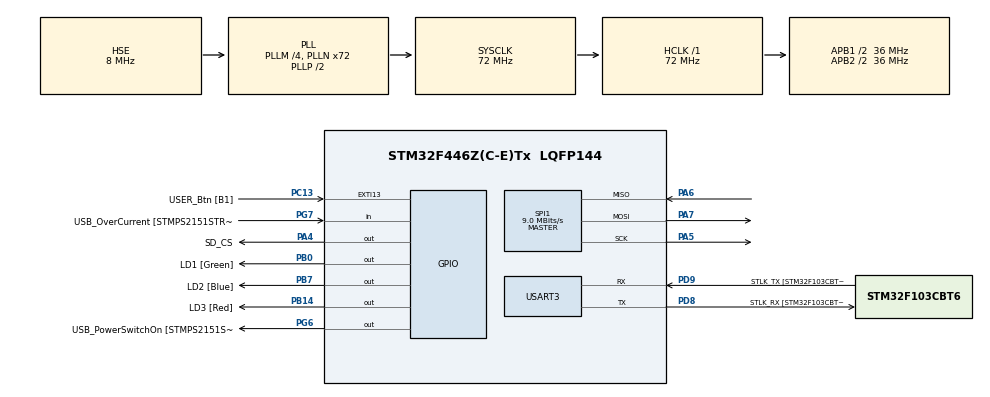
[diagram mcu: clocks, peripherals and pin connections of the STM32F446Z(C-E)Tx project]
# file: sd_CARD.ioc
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FATFS._MAX_SS=4096
FATFS._USE_FASTSEEK=0
FATFS._USE_LFN=1
Mcu.Family=STM32F4
Mcu.Name=STM32F446Z(C-E)Tx
Mcu.Package=LQFP144
NVIC.PriorityGroup=NVIC_PRIORITYGROUP_4
PA13.GPIO_Label=TMS
PA13.Mode=Serial_Wire
PA13.Signal=SYS_JTMS-SWDIO
PA14.GPIO_Label=TCK
PA14.Mode=Serial_Wire
PA14.Signal=SYS_JTCK-SWCLK
PA4.GPIO_Label=SD_CS
PA4.Signal=GPIO_Output
PA5.Mode=Full_Duplex_Master
PA5.Signal=SPI1_SCK
PA6.Mode=Full_Duplex_Master
PA6.Signal=SPI1_MISO
PA7.Mode=Full_Duplex_Master
PA7.Signal=SPI1_MOSI
PB0.GPIO_Label=LD1 [Green]
PB0.Signal=GPIO_Output
PB14.GPIO_Label=LD3 [Red]
PB14.Signal=GPIO_Output
PB7.GPIO_Label=LD2 [Blue]
PB7.Signal=GPIO_Output
PC13.GPIO_Label=USER_Btn [B1]
PC13.Signal=GPXTI13
PC14-OSC32_IN.Signal=RCC_OSC32_IN
PC15-OSC32_OUT.Signal=RCC_OSC32_OUT
PD8.GPIO_Label=STLK_RX [STM32F103CBT6_PA3]
PD8.Mode=Asynchronous
PD8.Signal=USART3_TX
PD9.GPIO_Label=STLK_TX [STM32F103CBT6_PA2]
PD9.Mode=Asynchronous
PD9.Signal=USART3_RX
PG6.GPIO_Label=USB_PowerSwitchOn [STMPS2151STR_EN]
PG6.Signal=GPIO_Output
PG7.GPIO_Label=USB_OverCurrent [STMPS2151STR_FAULT]
PG7.Signal=GPIO_Input
PH0-OSC_IN.GPIO_Label=MCO [STM32F103CBT6_PA8]
PH0-OSC_IN.Mode=HSE-External-Oscillator
PH0-OSC_IN.Signal=RCC_OSC_IN
PH1-OSC_OUT.Mode=HSE-External-Oscillator
PH1-OSC_OUT.Signal=RCC_OSC_OUT
ProjectManager.HeapSize=0x200
ProjectManager.StackSize=0x400
ProjectManager.TargetToolchain=STM32CubeIDE
RCC.48MHZClocksFreq_Value=24000000
RCC.AHBFreq_Value=72000000
RCC.APB1CLKDivider=RCC_HCLK_DIV2
RCC.APB1Freq_Value=36000000
RCC.APB1TimFreq_Value=72000000
RCC.APB2CLKDivider=RCC_HCLK_DIV2
RCC.APB2Freq_Value=36000000
RCC.APB2TimFreq_Value=72000000
RCC.CortexFreq_Value=72000000
RCC.HCLKFreq_Value=72000000
RCC.HSE_VALUE=8000000
RCC.HSI_VALUE=16000000
RCC.PLLM=4
RCC.PLLMUL=RCC_PLL_MUL9
RCC.PLLN=72
RCC.PLLQ=7
RCC.PLLSourceVirtual=RCC_PLLSOURCE_HSE
RCC.PRESCALERUSB=RCC_USBCLKSOURCE_PLL_DIV1_5
RCC.SYSCLKFreq_VALUE=72000000
RCC.SYSCLKSource=RCC_SYSCLKSOURCE_PLLCLK
RCC.SYSCLKSourceVirtual=RCC_SYSCLKSOURCE_PLLCLK
RCC.USBFreq_Value=20571428.57142857
RCC.VCOOutputFreq_Value=144000000
SPI1.BaudRatePrescaler=SPI_BAUDRATEPRESCALER_4
SPI1.CalculateBaudRate=9.0 MBits/s
SPI1.Direction=SPI_DIRECTION_2LINES
SPI1.Mode=SPI_MODE_MASTER
SPI1.VirtualType=VM_MASTER
USART3.VirtualMode=VM_ASYNC
VP_FATFS_VS_Generic.Mode=User_defined
board=NUCLEO-F446ZE

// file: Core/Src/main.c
/* USER CODE BEGIN Header */
/**
 ******************************************************************************
 * @file           : main.c
 * @brief          : Main program body
 ******************************************************************************
 * @attention
 *
 * <h2><center>&copy; Copyright (c) 2020 STMicroelectronics.
 * All rights reserved.</center></h2>
 *
 * This software component is licensed by ST under BSD 3-Clause license,
 * the "License"; You may not use this file except in compliance with the
 * License. You may obtain a copy of the License at:
 *                        opensource.org/licenses/BSD-3-Clause
 *
 ******************************************************************************
 */
/* USER CODE END Header */

#include "main.h"
#include "fatfs.h"

/* USER CODE BEGIN Includes */
#include "fatfs_sd.h"
#include "string.h"
#include "stdio.h"
/* USER CODE END Includes */

SPI_HandleTypeDef hspi1;

UART_HandleTypeDef huart3;

/* USER CODE BEGIN PV */

/****************************** SD CARD VARIABLES *****************************/
FATFS fs;  // file system
FIL fil;  // file
FRESULT fresult;  // to store the result
char buffer[1024]; // to store data
char To_Open[1024];
UINT br, bw;   // file read/write count

/* capacity related variables */
FATFS *pfs;
DWORD fre_clust;
uint32_t total, free_space;

/* USER CODE END PV */

void SystemClock_Config(void);
static void MX_GPIO_Init(void);
static void MX_USART3_UART_Init(void);
static void MX_SPI1_Init(void);

int main(void)
{

  /* MCU Configuration--------------------------------------------------------*/

  /* Reset of all peripherals, Initializes the Flash interface and the Systick. */
  HAL_Init();

  /* Configure the system clock */
  SystemClock_Config();

  /* Initialize all configured peripherals */
  MX_GPIO_Init();
  MX_USART3_UART_Init();
  MX_SPI1_Init();
  MX_FATFS_Init();
  /* USER CODE BEGIN 2 */

	/* Mount SD Card */
	fresult = f_mount(&fs, "", 0);
	if (fresult != FR_OK)
		send_uart("error in mounting SD CARD, check connection...\n");
	else
		send_uart("SD CARD mounted successfully...\n");

	/*************** Card capacity details ********************/
	/* Check free space */
	f_getfree("", &fre_clust, &pfs);
	total = (uint32_t) ((pfs->n_fatent - 2) * pfs->csize * 0.5);
	if (total < 32000000) {
		sprintf(buffer, "SD CARD Total Size: \t%lu\n", total);
		send_uart(buffer);
		bufclear();
		free_space = (uint32_t) (fre_clust * pfs->csize * 0.5);
		sprintf(buffer, "SD CARD Free Space: \t%lu\n", free_space);
		send_uart(buffer);
	} else {
		send_uart("ERROR: can't read SD CARD, check SD...\n");

	}

	/************* The following operation is using PUTS and GETS *********************/

	/* Open file to write/ create a file if it doesn't exist */
	strcpy(To_Open,"file1.txt");
	if( f_open(&fil, To_Open, FA_OPEN_ALWAYS | FA_READ | FA_WRITE) != FR_OK ) {
		char error [1024];
		strcpy(error,"ERROR: can't open ");
		strcat(error, To_Open);
		strcat(error, "\n\n");
		send_uart(error);
	}

	/* Read string from the file */
		while (f_gets(buffer, sizeof(buffer), &fil)) {
			/* SWV output */
			send_uart(buffer);
			fflush(stdout);
		}

	/* Writing text */
	fresult = f_lseek(&fil, fil.fptr);
	fresult = f_puts("Hello World!\n", &fil);

	/* Close file */
	f_close(&fil);

	bufclear();

	/**************** The following operation is using f_write and f_read **************************/

	/* Create second file with read write access and open it */
	fresult = f_open(&fil, "file2.txt", FA_OPEN_ALWAYS | FA_READ | FA_WRITE);

	/* Writing text */
	strcpy(buffer, "This is File 2 and it says Hello from controllerstech\n");
	fresult = f_write(&fil, buffer, bufsize(buffer), &bw);

	send_uart("File2.txt created and data is written\n");

	/* Close file */
	f_close(&fil);

	// clearing buffer to show that result obtained is from the file
	bufclear();

	/* Open second file to read */
	fresult = f_open(&fil, "file2.txt", FA_READ);

	/* Read data from the file
	 * Please see the function details for the arguments */
	while (f_gets(buffer, sizeof(buffer), &fil)) {
		/* SWV output */
		send_uart(buffer);
		fflush(stdout);
	}

	/* Close file */
	f_close(&fil);
	bufclear();

	/************************REMOVING FILES FROM THE DIRECTORY ****************************/
	fresult = f_unlink("/file1.txt");
	if (fresult == FR_OK) send_uart("file1.txt removed successfully...\n");

	/* Unmount SDCARD */
	fresult = f_mount(NULL, "", 1);
	if (fresult == FR_OK)
		send_uart("SD CARD UNMOUNTED successfully...\n");

  /* USER CODE END 2 */

  /* Infinite loop */
	while (1) {

	}
}

void SystemClock_Config(void)
{
  RCC_OscInitTypeDef RCC_OscInitStruct = {0};
  RCC_ClkInitTypeDef RCC_ClkInitStruct = {0};

  /** Configure the main internal regulator output voltage
  */
  __HAL_RCC_PWR_CLK_ENABLE();
  __HAL_PWR_VOLTAGESCALING_CONFIG(PWR_REGULATOR_VOLTAGE_SCALE3);
  /** Initializes the CPU, AHB and APB busses clocks
  */
  RCC_OscInitStruct.OscillatorType = RCC_OSCILLATORTYPE_HSE;
  RCC_OscInitStruct.HSEState = RCC_HSE_ON;
  RCC_OscInitStruct.PLL.PLLState = RCC_PLL_ON;
  RCC_OscInitStruct.PLL.PLLSource = RCC_PLLSOURCE_HSE;
  RCC_OscInitStruct.PLL.PLLM = 4;
  RCC_OscInitStruct.PLL.PLLN = 72;
  RCC_OscInitStruct.PLL.PLLP = RCC_PLLP_DIV2;
  RCC_OscInitStruct.PLL.PLLQ = 7;
  RCC_OscInitStruct.PLL.PLLR = 2;
  if (HAL_RCC_OscConfig(&RCC_OscInitStruct) != HAL_OK)
  {
    Error_Handler();
  }
  /** Initializes the CPU, AHB and APB busses clocks
  */
  RCC_ClkInitStruct.ClockType = RCC_CLOCKTYPE_HCLK|RCC_CLOCKTYPE_SYSCLK
                              |RCC_CLOCKTYPE_PCLK1|RCC_CLOCKTYPE_PCLK2;
  RCC_ClkInitStruct.SYSCLKSource = RCC_SYSCLKSOURCE_PLLCLK;
  RCC_ClkInitStruct.AHBCLKDivider = RCC_SYSCLK_DIV1;
  RCC_ClkInitStruct.APB1CLKDivider = RCC_HCLK_DIV2;
  RCC_ClkInitStruct.APB2CLKDivider = RCC_HCLK_DIV2;

  if (HAL_RCC_ClockConfig(&RCC_ClkInitStruct, FLASH_LATENCY_2) != HAL_OK)
  {
    Error_Handler();
  }
}

static void MX_SPI1_Init(void)
{

  /* SPI1 parameter configuration*/
  hspi1.Instance = SPI1;
  hspi1.Init.Mode = SPI_MODE_MASTER;
  hspi1.Init.Direction = SPI_DIRECTION_2LINES;
  hspi1.Init.DataSize = SPI_DATASIZE_8BIT;
  hspi1.Init.CLKPolarity = SPI_POLARITY_LOW;
  hspi1.Init.CLKPhase = SPI_PHASE_1EDGE;
  hspi1.Init.NSS = SPI_NSS_SOFT;
  hspi1.Init.BaudRatePrescaler = SPI_BAUDRATEPRESCALER_4;
  hspi1.Init.FirstBit = SPI_FIRSTBIT_MSB;
  hspi1.Init.TIMode = SPI_TIMODE_DISABLE;
  hspi1.Init.CRCCalculation = SPI_CRCCALCULATION_DISABLE;
  hspi1.Init.CRCPolynomial = 10;
  if (HAL_SPI_Init(&hspi1) != HAL_OK)
  {
    Error_Handler();
  }

}

static void MX_USART3_UART_Init(void)
{

  huart3.Instance = USART3;
  huart3.Init.BaudRate = 115200;
  huart3.Init.WordLength = UART_WORDLENGTH_8B;
  huart3.Init.StopBits = UART_STOPBITS_1;
  huart3.Init.Parity = UART_PARITY_NONE;
  huart3.Init.Mode = UART_MODE_TX_RX;
  huart3.Init.HwFlowCtl = UART_HWCONTROL_NONE;
  huart3.Init.OverSampling = UART_OVERSAMPLING_16;
  if (HAL_UART_Init(&huart3) != HAL_OK)
  {
    Error_Handler();
  }

}

static void MX_GPIO_Init(void)
{
  GPIO_InitTypeDef GPIO_InitStruct = {0};

  /* GPIO Ports Clock Enable */
  __HAL_RCC_GPIOC_CLK_ENABLE();
  __HAL_RCC_GPIOH_CLK_ENABLE();
  __HAL_RCC_GPIOA_CLK_ENABLE();
  __HAL_RCC_GPIOB_CLK_ENABLE();
  __HAL_RCC_GPIOD_CLK_ENABLE();
  __HAL_RCC_GPIOG_CLK_ENABLE();

  /*Configure GPIO pin Output Level */
  HAL_GPIO_WritePin(SD_CS_GPIO_Port, SD_CS_Pin, GPIO_PIN_RESET);

  /*Configure GPIO pin Output Level */
  HAL_GPIO_WritePin(GPIOB, LD1_Pin|LD3_Pin|LD2_Pin, GPIO_PIN_RESET);

  /*Configure GPIO pin Output Level */
  HAL_GPIO_WritePin(USB_PowerSwitchOn_GPIO_Port, USB_PowerSwitchOn_Pin, GPIO_PIN_RESET);

  /*Configure GPIO pin : USER_Btn_Pin */
  GPIO_InitStruct.Pin = USER_Btn_Pin;
  GPIO_InitStruct.Mode = GPIO_MODE_IT_RISING;
  GPIO_InitStruct.Pull = GPIO_NOPULL;
  HAL_GPIO_Init(USER_Btn_GPIO_Port, &GPIO_InitStruct);

  /*Configure GPIO pin : SD_CS_Pin */
  GPIO_InitStruct.Pin = SD_CS_Pin;
  GPIO_InitStruct.Mode = GPIO_MODE_OUTPUT_PP;
  GPIO_InitStruct.Pull = GPIO_NOPULL;
  GPIO_InitStruct.Speed = GPIO_SPEED_FREQ_LOW;
  HAL_GPIO_Init(SD_CS_GPIO_Port, &GPIO_InitStruct);

  /*Configure GPIO pins : LD1_Pin LD3_Pin LD2_Pin */
  GPIO_InitStruct.Pin = LD1_Pin|LD3_Pin|LD2_Pin;
  GPIO_InitStruct.Mode = GPIO_MODE_OUTPUT_PP;
  GPIO_InitStruct.Pull = GPIO_NOPULL;
  GPIO_InitStruct.Speed = GPIO_SPEED_FREQ_LOW;
  HAL_GPIO_Init(GPIOB, &GPIO_InitStruct);

  /*Configure GPIO pin : USB_PowerSwitchOn_Pin */
  GPIO_InitStruct.Pin = USB_PowerSwitchOn_Pin;
  GPIO_InitStruct.Mode = GPIO_MODE_OUTPUT_PP;
  GPIO_InitStruct.Pull = GPIO_NOPULL;
  GPIO_InitStruct.Speed = GPIO_SPEED_FREQ_LOW;
  HAL_GPIO_Init(USB_PowerSwitchOn_GPIO_Port, &GPIO_InitStruct);

  /*Configure GPIO pin : USB_OverCurrent_Pin */
  GPIO_InitStruct.Pin = USB_OverCurrent_Pin;
  GPIO_InitStruct.Mode = GPIO_MODE_INPUT;
  GPIO_InitStruct.Pull = GPIO_NOPULL;
  HAL_GPIO_Init(USB_OverCurrent_GPIO_Port, &GPIO_InitStruct);

}

/* USER CODE BEGIN 4 */

/* to send the data to the uart */
void send_uart(char *string) {
	uint8_t len = strlen(string);
	HAL_UART_Transmit(&huart3, (uint8_t*) string, len, 2000); // transmit in blocking mode
}

/* to find the size of data in the buffer */
int bufsize(char *buf) {
	int i = 0;
	while (*buf++ != '\0')
		i++;
	return i;
}

/*Clear the buffer*/
void bufclear(void)  {
	for (int i = 0; i < 1024; i++) {
		buffer[i] = '\0';
	}
}

/* USER CODE END 4 */

void Error_Handler(void)
{
}

/************************ (C) COPYRIGHT STMicroelectronics *****END OF FILE****/
